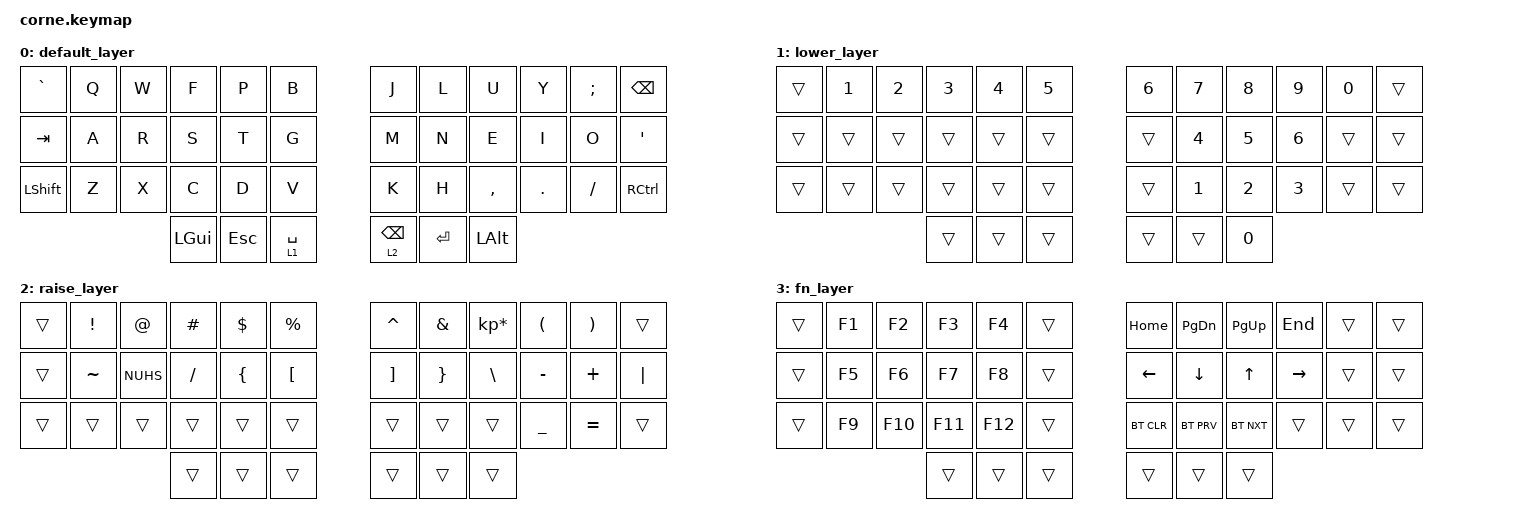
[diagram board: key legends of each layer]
/*
 * Copyright (c) 2020 The ZMK Contributors
 *
 * SPDX-License-Identifier: MIT
 */

#include <behaviors.dtsi>
#include <dt-bindings/zmk/keys.h>
#include <dt-bindings/zmk/bt.h>
#include <dt-bindings/zmk/ext_power.h>

/ {

behaviors {
clt: custom_layer_tap {
         compatible = "zmk,behavior-hold-tap";
         label = "CUSTOM_LAYER_TAP";
         #binding-cells = <2>;
         flavor = "balanced";
         tapping-term-ms = <175>;
         quick-tap-ms = <100>;
         global-quick-tap;
         bindings = <&mo>, <&kp>;
         };

cmt: custom_mod_tap {
         compatible = "zmk,behavior-hold-tap";
         label = "CUSTOM_MOD_TAP";
         #binding-cells = <2>;
         flavor = "balanced";
         tapping-term-ms = <175>;
         quick-tap-ms = <100>;
         global-quick-tap;
         bindings = <&kp>, <&kp>;
         };

     };

        keymap {
                compatible = "zmk,keymap";

                default_layer {
// -----------------------------------------------------------------------------------------
// |  ` |  Q  |  W  |  F  |  P  |  B  |   |  J  |  L   |  U  |  Y  |  ;  | BKSP |
// | TAB  |  A  |  R  |  S  |  T  |  G  |   |  M  |  N   |  E  |  I  |  O  |  '   |
// | SHFT |  Z  |  X  |  C  |  D  |  V  |   |  K  |  H   |  ,  |  .  |  /  | RCTRL |
//                    | GUI | ESC |SPC/1|   |BSPC/2| ENT  | ALT |
                        bindings = <
   &kp GRAVE   &kp Q &kp W &kp F &kp P &kp B   &kp J &kp L  &kp U     &kp Y   &kp SEMI    &kp BSPC
   &kp TAB &kp A &kp R &kp S &kp T &kp G   &kp M &kp N  &kp E     &kp I   &kp O &kp SQT
   &kp LSHFT &kp Z &kp X &kp C &kp D &kp V   &kp K &kp H  &kp COMMA &kp DOT &kp FSLH &kp RCTRL
      &kp LGUI &kp ESC &clt 1 SPACE   &clt 2 BSPC &kp RET &kp LALT
                        >;
                };

                lower_layer {
// -----------------------------------------------------------------------------------------
// |      |  1  |  2  |  3  |  4  |  5  |   |  6  |  7   |  8  |  9  |  0  |      |
// |      |     |     |     |     |     |   |     |  4   |  5  |  6  |     |      |
// |      |     |     |     |     |     |   |     |  1   |  2  |  3  |     |      |
//                    |     |     |     |   |     |      |  0  |
                        bindings = <
   &trans   &kp N1 &kp N2 &kp N3 &kp N4 &kp N5   &kp N6   &kp N7   &kp N8 &kp N9 &kp N0 &trans
   &trans &trans &trans &trans &trans &trans   &trans   &kp N4   &kp N5 &kp N6 &trans &trans
   &trans &trans &trans &trans &trans &trans   &trans   &kp N1   &kp N2 &kp N3 &trans &trans
                  &trans &trans &trans         &trans &trans &kp N0
                        >;
                };

                raise_layer {
// -----------------------------------------------------------------------------------------
// |  `   |  !  |  @  |  #  |  $  |  %  |   |  ^  |  &  |  *  |  (  |  )  |      |
// |      |  ~  |  £  |  /  |  {  |  [  |   |  ]  |  }  |  \  |  -  |  +  | "|"  |
// |      |     |     |     |     |     |   |     |     |     |  _  |  =  |      |
//                    |     |     |     |   |     |     |     |
                        bindings = <
   &trans &kp EXCL  &kp AT   &kp HASH &kp DLLR &kp PRCNT   &kp CARET &kp AMPS  &kp KP_MULTIPLY &kp LPAR &kp RPAR &trans
   &trans &kp TILDE &kp NUHS &kp FSLH &kp LBRC &kp LBKT    &kp RBKT  &kp RBRC  &kp BSLH        &kp MINUS &kp PLUS &kp PIPE
   &trans &trans   &trans &trans   &trans   &trans         &trans    &trans    &trans          &kp UNDER &kp EQUAL &trans
                             &trans &trans &trans          &trans    &trans    &trans
                        >;
                };

                fn_layer {
// -----------------------------------------------------------------------------------------
// |  `   | F1  | F2  | F3  | F4  |     |   |HOME |PGDN | PGUP| END |     |      |
// |      | F5  | F6  | F7  | F8  |     |   |LEFT |DN   |UP   |RIGHT|     |      |
// |      | F9  | F10 | F11 | F12 |     |   |BT_CLR|BT_PRV|BT_NXT|    |    |     |
//                    |     |     |     |   |      |      |     |
                        bindings = <
   &trans &kp F1 &kp F2 &kp F3 &kp F4 &trans                    &kp HOME &kp PG_DN &kp PG_UP &kp END &trans &trans
   &trans &kp F5 &kp F6 &kp F7 &kp F8 &trans                 &kp LEFT &kp DOWN &kp UP &kp RIGHT &trans &trans 
   &trans &kp F9 &kp F10 &kp F11 &kp F12 &trans              &bt BT_CLR &bt BT_PRV &bt BT_NXT &trans &trans &trans
                         &trans &trans &trans                &trans &trans &trans
                        >;
                };
        };

    conditional_layers {
        compatible = "zmk,conditional-layers";
        tri_layer {
            if-layers = <1 2>;
            then-layer = <3>;
        };
    };
};
